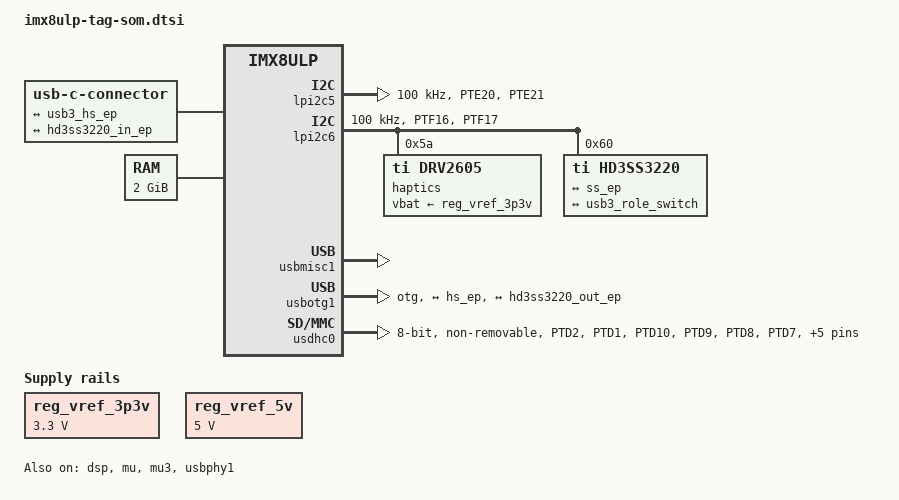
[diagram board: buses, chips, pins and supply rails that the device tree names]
// SPDX-License-Identifier: (GPL-2.0 OR MIT)
/*
 * Copyright 2023 Boundary Devices
 */
#include <dt-bindings/input/linux-event-codes.h>
#include <dt-bindings/input/ti-drv260x.h>
#include "imx8ulp.dtsi"

&iomuxc1 {
	pinctrl-names = "default";
	pinctrl-0 = <&pinctrl_hog_som>;

	pinctrl_hog_som: hog-somgrp {
		fsl,pins = <
			MX8ULP_PAD_PTF29__PTF29		0x7	/* pmic_mode0 */
			MX8ULP_PAD_PTF30__PTF30		0x7	/* pmic_mode1 */
			MX8ULP_PAD_PTF31__PTF31		0x7	/* pmic_mode2 */
			MX8ULP_PAD_PTF27__PTF27		0x7
		>;
	};

	pinctrl_lpi2c5: lpi2c5grp {
		fsl,pins = <
			MX8ULP_PAD_PTE20__LPI2C5_SCL	0x27
			MX8ULP_PAD_PTE21__LPI2C5_SDA	0x27
		>;
	};

	pinctrl_lpi2c6: lpi2c6grp {
		fsl,pins = <
			MX8ULP_PAD_PTF16__LPI2C6_SCL	0x27
			MX8ULP_PAD_PTF17__LPI2C6_SDA	0x27
		>;
	};

	pinctrl_lpi2c6_haptics: lpi2c6-hapticsgrp {
		fsl,pins = <
#define GP_I2C6_HAPTICS_EN	<&gpiod 11 GPIO_ACTIVE_HIGH>
			MX8ULP_PAD_PTD11__PTD11		0x02
		>;
	};

	pinctrl_lpi2c6_hd3ss3220: lpi2c6-hd3ss3220grp {
		fsl,pins = <
#define GPIRQ_HD3SS3220		<&gpioe 1 IRQ_TYPE_LEVEL_LOW>
			MX8ULP_PAD_PTE1__PTE1		0x7
			/* id pin, not needed */
			MX8ULP_PAD_PTD12__PTD12		0x3
		>;
	};

	pinctrl_usdhc0: usdhc0grp {
		fsl,pins = <
			MX8ULP_PAD_PTD2__SDHC0_CLK	0x10002
			MX8ULP_PAD_PTD1__SDHC0_CMD	0x3
			MX8ULP_PAD_PTD10__SDHC0_D0	0x3
			MX8ULP_PAD_PTD9__SDHC0_D1	0x3
			MX8ULP_PAD_PTD8__SDHC0_D2	0x3
			MX8ULP_PAD_PTD7__SDHC0_D3	0x3
			MX8ULP_PAD_PTD6__SDHC0_D4	0x3
			MX8ULP_PAD_PTD5__SDHC0_D5	0x3
			MX8ULP_PAD_PTD4__SDHC0_D6	0x3
			MX8ULP_PAD_PTD3__SDHC0_D7	0x3
			MX8ULP_PAD_PTD0__SDHC0_RESET_B  0x3
		>;
	};
};

/ {
	connector {
		compatible = "usb-c-connector";
		label = "USB-C";
		data-role = "dual";

		ports {
			#address-cells = <1>;
			#size-cells = <0>;

			port@0 {
				reg = <0>;
				hs_ep: endpoint {
					remote-endpoint = <&usb3_hs_ep>;
				};
			};

			port@1 {
				reg = <1>;
				ss_ep: endpoint {
					remote-endpoint = <&hd3ss3220_in_ep>;
				};
			};
		};
	};

	memory@40000000 {
		device_type = "memory";
		reg = <0x0 0x80000000 0 0x80000000>;
	};

	reg_vref_3p3v: regulator-vref-3p3v {
		compatible = "regulator-fixed";
		regulator-name = "vref-3p3v";
		regulator-min-microvolt = <3300000>;
		regulator-max-microvolt = <3300000>;
	};

	reg_vref_5v: regulator-vref-5v {
		compatible = "regulator-fixed";
		regulator-name = "vref-5v";
		regulator-min-microvolt = <5000000>;
		regulator-max-microvolt = <5000000>;
	};

	rpmsg_keys: rpmsg-keys {
		compatible = "fsl,rpmsg-keys";

		volume-up {
			label = "VolumeUp";
			linux,code = <KEY_VOLUMEUP>;
			rpmsg-key,wakeup;
		};

		volume-down {
			label = "VolumeDown";
			linux,code = <KEY_VOLUMEDOWN>;
			rpmsg-key,wakeup;
		};
	};

	reserved-memory {
		#address-cells = <2>;
		#size-cells = <2>;
		ranges;

		linux,cma {
			compatible = "shared-dma-pool";
			reusable;
			size = <0 0x28000000>;
			linux,cma-default;
		};

		dsp_reserved: dsp_reserved@8e000000 {
			reg = <0 0x8e000000 0 0x1000000>;
			no-map;
		};

		dsp_reserved_heap: dsp_reserved_heap {
			reg = <0 0x8f000000 0 0xef0000>;
			no-map;
		};

		dsp_vdev0vring0: vdev0vring0@8fef0000 {
			reg = <0 0x8fef0000 0 0x8000>;
			no-map;
		};

		dsp_vdev0vring1: vdev0vring1@8fef8000 {
			reg = <0 0x8fef8000 0 0x8000>;
			no-map;
		};

		dsp_vdev0buffer: vdev0buffer@8ff00000 {
			compatible = "shared-dma-pool";
			reg = <0 0x8ff00000 0 0x100000>;
			no-map;
		};

		audio_reserved: audio@a8500000 {
			compatible = "shared-dma-pool";
			no-map;
			reg = <0 0xa8500000 0 0x100000>;
		};
	};

};

&crypto {
	status = "disabled";
};

&dsp {
	assigned-clocks = <&cgc2 IMX8ULP_CLK_HIFI_SEL>;
	assigned-clock-parents = <&cgc2 IMX8ULP_CLK_PLL4>;
	memory-region = <&dsp_vdev0buffer>, <&dsp_vdev0vring0>,
			<&dsp_vdev0vring1>, <&dsp_reserved>;
	status = "okay";
};

&lpi2c5 {
	#address-cells = <1>;
	#size-cells = <0>;
	clock-frequency = <100000>;
	pinctrl-names = "default", "sleep";
	pinctrl-0 = <&pinctrl_lpi2c5>;
	pinctrl-1 = <&pinctrl_lpi2c5>;
	status = "okay";
};

&lpi2c6 {
	#address-cells = <1>;
	#size-cells = <0>;
	clock-frequency = <100000>;
	pinctrl-names = "default", "sleep";
	pinctrl-0 = <&pinctrl_lpi2c6>;
	pinctrl-1 = <&pinctrl_lpi2c6>;
	status = "okay";

	haptics: haptics@5a {
		compatible = "ti,drv2605";
		reg = <0x5a>;
		vbat-supply = <&reg_vref_3p3v>;
		enable-gpio = GP_I2C6_HAPTICS_EN;
		mode = <DRV260X_LRA_MODE>;
		library-sel = <DRV260X_LIB_LRA>;
		pinctrl-names = "default";
		pinctrl-0 = <&pinctrl_lpi2c6_haptics>;
		vib-rated-mv = <3200>;
		vib-overdrive-mv = <3200>;
	};

	hd3ss3220@60 {
		/* tusb320 is compatible with hd3ss3220 */
		compatible = "ti,hd3ss3220";
		interrupts-extended = GPIRQ_HD3SS3220;
		pinctrl-names = "default";
		pinctrl-0 = <&pinctrl_lpi2c6_hd3ss3220>;
		reg = <0x60>;

		ports {
			#address-cells = <1>;
			#size-cells = <0>;

			port@0 {
				reg = <0>;
				hd3ss3220_in_ep: endpoint {
					remote-endpoint = <&ss_ep>;
				};
			};

			port@1 {
				reg = <1>;
				hd3ss3220_out_ep: endpoint {
					remote-endpoint = <&usb3_role_switch>;
				};
			};
		};
	};
};

&mu {
	status = "okay";
};

&mu3 {
	status = "okay";
};

&usbmisc1 {
	status = "okay";
};

&usbotg1 {
	dr_mode = "otg";
	status = "okay";

	ports {
		#address-cells = <1>;
		#size-cells = <0>;

		port@0 {
			reg = <0>;
			usb3_hs_ep: endpoint {
				remote-endpoint = <&hs_ep>;
			};
		};

		port@1 {
			reg = <1>;
			usb3_role_switch: endpoint {
				remote-endpoint = <&hd3ss3220_out_ep>;
			};
		};
	};
};

&usbphy1 {
	fsl,tx-d-cal = <88>;
	status = "okay";
};

&usdhc0 {
	bus-width = <8>;
	no-mmc-hs400;
	non-removable;
	pinctrl-names = "default", "state_100mhz", "state_200mhz";
	pinctrl-0 = <&pinctrl_usdhc0>;
	pinctrl-1 = <&pinctrl_usdhc0>;
	pinctrl-2 = <&pinctrl_usdhc0>;
	status = "okay";
};
